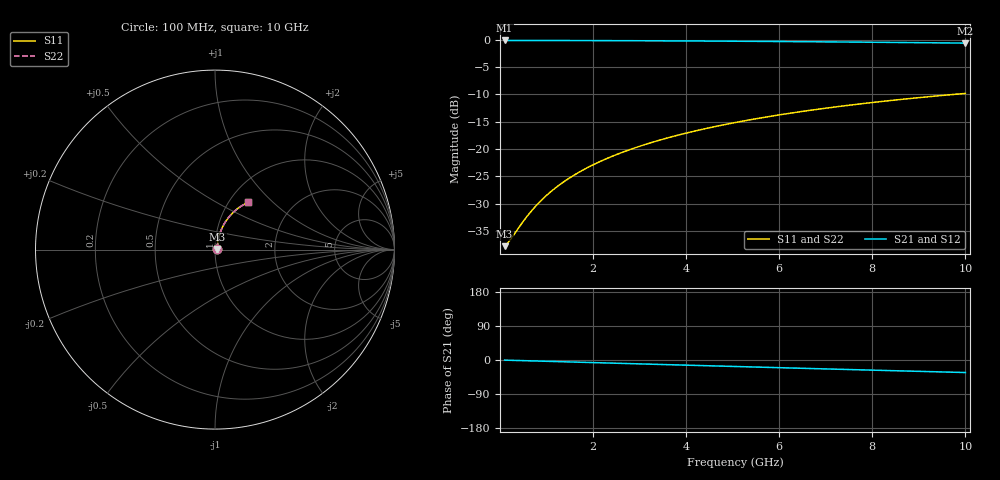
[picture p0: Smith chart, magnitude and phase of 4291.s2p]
# Hz S RI R 50.00
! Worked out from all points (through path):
!   100 points, 100 MHz to 10 GHz, reference 50 ohm
!   highest |S21| = -0.11 dB at 100 MHz (marker M1); lowest = -0.6 dB at 10 GHz (marker M2)
!   group delay of S21, straight-line fit = 9.21 ps
!   lowest |S11| = -37.8 dB at 100 MHz (marker M3), VSWR 1.03, Z = 51.3 + j0.355 ohm
!   |S11| at or under -10 dB: start of sweep to 9.754 GHz
!   |S22| runs from -37.8 to -9.8 dB; largest |S21 - S12| = 0
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1e8  0.0124 0.00346  0.9876 -0.0059  0.9876 -0.0059  0.0124 0.00346
2e8  0.0125 0.00692  0.9875 -0.0118  0.9875 -0.0118  0.0125 0.00692
5e8  0.0131 0.0173  0.9868 -0.0295  0.9868 -0.0295  0.0131 0.0173
6e8  0.0134 0.0207  0.9865 -0.0353  0.9865 -0.0353  0.0134 0.0207
7e8  0.0137 0.0242  0.9862 -0.0412  0.9862 -0.0412  0.0137 0.0242
9e8  0.0144 0.031  0.9854 -0.053  0.9854 -0.053  0.0144 0.031
1.1e9  0.0153 0.0379  0.9844 -0.0647  0.9844 -0.0647  0.0153 0.0379
1.3e9  0.0163 0.0447  0.9832 -0.0764  0.9832 -0.0764  0.0163 0.0447
1.5e9  0.0175 0.0515  0.9818 -0.0881  0.9818 -0.0881  0.0175 0.0515
1.8e9  0.0195 0.0616  0.9794 -0.1055  0.9794 -0.1055  0.0195 0.0616
2.1e9  0.022 0.0717  0.9767 -0.1229  0.9767 -0.1229  0.022 0.0717
2.5e9  0.0258 0.0849  0.9723 -0.1459  0.9723 -0.1459  0.0258 0.0849
2.9e9  0.0302 0.0979  0.9673 -0.1686  0.9673 -0.1686  0.0302 0.0979
3.4e9  0.0365 0.1137  0.96 -0.1967  0.96 -0.1967  0.0365 0.1137
3.8e9  0.0422 0.1261  0.9534 -0.2189  0.9534 -0.2189  0.0422 0.1261
4.2e9  0.0485 0.1381  0.9461 -0.2407  0.9461 -0.2407  0.0485 0.1381
5.1e9  0.0645 0.1639  0.9276 -0.2886  0.9276 -0.2886  0.0645 0.1639
5.9e9  0.0807 0.1851  0.9086 -0.3295  0.9086 -0.3295  0.0807 0.1851
6.7e9  0.0987 0.2046  0.8875 -0.3687  0.8875 -0.3687  0.0987 0.2046
7.5e9  0.1182 0.2221  0.8645 -0.406  0.8645 -0.406  0.1182 0.2221
8.4e9  0.1416 0.2394  0.8366 -0.4456  0.8366 -0.4456  0.1416 0.2394
1e10  0.1862 0.2637  0.7826 -0.5097  0.7826 -0.5097  0.1862 0.2637
